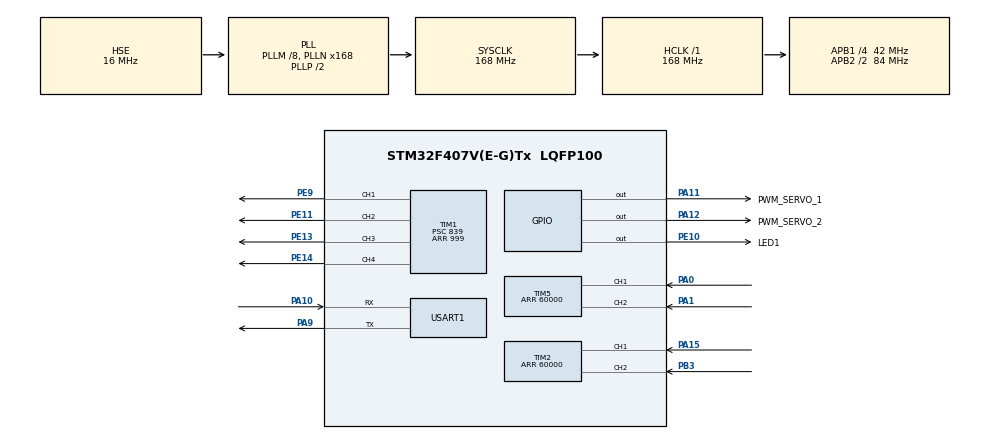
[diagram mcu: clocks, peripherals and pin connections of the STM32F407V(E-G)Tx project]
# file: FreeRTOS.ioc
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FREERTOS.Tasks01=defaultTask,24,512,StartDefaultTask,Default,NULL,Dynamic,NULL,NULL;LED_Task,8,128,LED_Task_entry,As weak,NULL,Static,LED_TaskBuffer,LED_TaskControlBlock
Mcu.Family=STM32F4
Mcu.Name=STM32F407V(E-G)Tx
Mcu.Package=LQFP100
NVIC.PriorityGroup=NVIC_PRIORITYGROUP_4
NVIC.TIM2_IRQn=true\:6\:0\:true\:false\:true\:true\:true\:true\:true
NVIC.TIM5_IRQn=true\:6\:0\:true\:false\:true\:true\:true\:true\:true
NVIC.TIM7_IRQn=true\:6\:0\:true\:false\:true\:true\:true\:true\:true
NVIC.TIM8_TRG_COM_TIM14_IRQn=true\:15\:0\:false\:false\:true\:false\:false\:true\:true
NVIC.TIM8_UP_TIM13_IRQn=true\:6\:0\:true\:false\:true\:true\:true\:true\:true
NVIC.TimeBase=TIM8_TRG_COM_TIM14_IRQn
NVIC.TimeBaseIP=TIM14
NVIC.USART1_IRQn=true\:6\:0\:true\:false\:true\:true\:true\:true\:true
PA0-WKUP.GPIO_PuPd=GPIO_PULLUP
PA0-WKUP.GPIO_Speed=GPIO_SPEED_FREQ_VERY_HIGH
PA0-WKUP.Signal=S_TIM5_CH1
PA1.GPIO_PuPd=GPIO_PULLUP
PA1.GPIO_Speed=GPIO_SPEED_FREQ_VERY_HIGH
PA1.Signal=S_TIM5_CH2
PA10.Mode=Asynchronous
PA10.Signal=USART1_RX
PA11.GPIO_Label=PWM_SERVO_1
PA11.GPIO_Speed=GPIO_SPEED_FREQ_HIGH
PA11.Signal=GPIO_Output
PA12.GPIO_Label=PWM_SERVO_2
PA12.GPIO_Speed=GPIO_SPEED_FREQ_HIGH
PA12.Signal=GPIO_Output
PA13.Mode=Serial_Wire
PA13.Signal=SYS_JTMS-SWDIO
PA14.Mode=Serial_Wire
PA14.Signal=SYS_JTCK-SWCLK
PA15.GPIO_PuPd=GPIO_PULLUP
PA15.GPIO_Speed=GPIO_SPEED_FREQ_VERY_HIGH
PA15.Signal=S_TIM2_CH1_ETR
PA9.Mode=Asynchronous
PA9.Signal=USART1_TX
PB3.GPIO_PuPd=GPIO_PULLUP
PB3.GPIO_Speed=GPIO_SPEED_FREQ_VERY_HIGH
PB3.Signal=S_TIM2_CH2
PE10.GPIO_Label=LED1
PE10.GPIO_PuPd=GPIO_PULLUP
PE10.PinState=GPIO_PIN_SET
PE10.Signal=GPIO_Output
PE11.GPIO_Speed=GPIO_SPEED_FREQ_HIGH
PE11.Signal=S_TIM1_CH2
PE13.GPIO_Speed=GPIO_SPEED_FREQ_HIGH
PE13.Signal=S_TIM1_CH3
PE14.GPIO_Speed=GPIO_SPEED_FREQ_HIGH
PE14.Signal=S_TIM1_CH4
PE9.GPIO_Speed=GPIO_SPEED_FREQ_HIGH
PE9.Signal=S_TIM1_CH1
PH0-OSC_IN.Mode=HSE-External-Oscillator
PH0-OSC_IN.Signal=RCC_OSC_IN
PH1-OSC_OUT.Mode=HSE-External-Oscillator
PH1-OSC_OUT.Signal=RCC_OSC_OUT
ProjectManager.HeapSize=0x200
ProjectManager.StackSize=0x400
ProjectManager.TargetToolchain=MDK-ARM V5
RCC.48MHZClocksFreq_Value=84000000
RCC.AHBFreq_Value=168000000
RCC.APB1CLKDivider=RCC_HCLK_DIV4
RCC.APB1Freq_Value=42000000
RCC.APB1TimFreq_Value=84000000
RCC.APB2CLKDivider=RCC_HCLK_DIV2
RCC.APB2Freq_Value=84000000
RCC.APB2TimFreq_Value=168000000
RCC.CortexFreq_Value=168000000
RCC.EXTERNAL_CLOCK_VALUE=12288000
RCC.EnbaleCSS=true
RCC.HCLKFreq_Value=168000000
RCC.HSE_VALUE=16000000
RCC.HSI_VALUE=16000000
RCC.LSE_VALUE=32768
RCC.PLLM=8
RCC.PLLN=168
RCC.PLLSourceVirtual=RCC_PLLSOURCE_HSE
RCC.SYSCLKFreq_VALUE=168000000
RCC.SYSCLKSource=RCC_SYSCLKSOURCE_PLLCLK
RCC.VCOOutputFreq_Value=336000000
SH.S_TIM1_CH1.0=TIM1_CH1,PWM Generation1 CH1
SH.S_TIM1_CH2.0=TIM1_CH2,PWM Generation2 CH2
SH.S_TIM1_CH3.0=TIM1_CH3,PWM Generation3 CH3
SH.S_TIM1_CH4.0=TIM1_CH4,PWM Generation4 CH4
SH.S_TIM2_CH1_ETR.0=TIM2_CH1,Encoder_Interface
SH.S_TIM2_CH2.0=TIM2_CH2,Encoder_Interface
SH.S_TIM5_CH1.0=TIM5_CH1,Encoder_Interface
SH.S_TIM5_CH2.0=TIM5_CH2,Encoder_Interface
TIM1.AutoReloadPreload=TIM_AUTORELOAD_PRELOAD_ENABLE
TIM1.Channel-PWM\ Generation1\ CH1=TIM_CHANNEL_1
TIM1.Channel-PWM\ Generation2\ CH2=TIM_CHANNEL_2
TIM1.Channel-PWM\ Generation3\ CH3=TIM_CHANNEL_3
TIM1.Channel-PWM\ Generation4\ CH4=TIM_CHANNEL_4
TIM1.OCFastMode_PWM-PWM\ Generation1\ CH1=TIM_OCFAST_ENABLE
TIM1.OCFastMode_PWM-PWM\ Generation2\ CH2=TIM_OCFAST_ENABLE
TIM1.OCFastMode_PWM-PWM\ Generation3\ CH3=TIM_OCFAST_ENABLE
TIM1.OCFastMode_PWM-PWM\ Generation4\ CH4=TIM_OCFAST_ENABLE
TIM1.Period=999
TIM1.Prescaler=839
TIM13.AutoReloadPreload=TIM_AUTORELOAD_PRELOAD_DISABLE
TIM13.Period=839
TIM13.Prescaler=0
TIM2.AutoReloadPreload=TIM_AUTORELOAD_PRELOAD_ENABLE
TIM2.EncoderMode=TIM_ENCODERMODE_TI12
TIM2.Period=60000
TIM5.AutoReloadPreload=TIM_AUTORELOAD_PRELOAD_ENABLE
TIM5.EncoderMode=TIM_ENCODERMODE_TI12
TIM5.Period=60000
TIM7.AutoReloadPreload=TIM_AUTORELOAD_PRELOAD_ENABLE
TIM7.Period=9999
TIM7.Prescaler=83
USART1.VirtualMode=VM_ASYNC
VP_FREERTOS_VS_CMSIS_V2.Mode=CMSIS_V2
VP_SYS_VS_tim14.Mode=TIM14
VP_TIM13_VS_ClockSourceINT.Mode=Enable_Timer
VP_TIM1_VS_ClockSourceINT.Mode=Internal
VP_TIM7_VS_ClockSourceINT.Mode=Enable_Timer
board=custom

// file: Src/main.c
/* USER CODE BEGIN Header */
/**
  ******************************************************************************
  * @file           : main.c
  * @brief          : Main program body
  ******************************************************************************
  * @attention
  *
  * Copyright (c) 2023 STMicroelectronics.
  * All rights reserved.
  *
  * This software is licensed under terms that can be found in the LICENSE file
  * in the root directory of this software component.
  * If no LICENSE file comes with this software, it is provided AS-IS.
  *
  ******************************************************************************
  */
/* USER CODE END Header */
#include "main.h"
#include "cmsis_os.h"

/* USER CODE BEGIN Includes */
#include <stdio.h>
#include <string.h>
#include <stdlib.h>
#include <stdarg.h>
/* USER CODE END Includes */

typedef StaticTask_t osStaticThreadDef_t;

TIM_HandleTypeDef htim1;
TIM_HandleTypeDef htim2;
TIM_HandleTypeDef htim5;
TIM_HandleTypeDef htim7;
TIM_HandleTypeDef htim13;

UART_HandleTypeDef huart1;

/* Definitions for defaultTask */
osThreadId_t defaultTaskHandle;
const osThreadAttr_t defaultTask_attributes = {
  .name = "defaultTask",
  .stack_size = 512 * 4,
  .priority = (osPriority_t) osPriorityNormal,
};
/* Definitions for LED_Task */
osThreadId_t LED_TaskHandle;
uint32_t LED_TaskBuffer[ 128 ];
osStaticThreadDef_t LED_TaskControlBlock;
const osThreadAttr_t LED_Task_attributes = {
  .name = "LED_Task",
  .cb_mem = &LED_TaskControlBlock,
  .cb_size = sizeof(LED_TaskControlBlock),
  .stack_mem = &LED_TaskBuffer[0],
  .stack_size = sizeof(LED_TaskBuffer),
  .priority = (osPriority_t) osPriorityLow,
};

void SystemClock_Config(void);
static void MX_GPIO_Init(void);
static void MX_TIM1_Init(void);
static void MX_TIM2_Init(void);
static void MX_TIM5_Init(void);
static void MX_TIM7_Init(void);
static void MX_TIM13_Init(void);
static void MX_USART1_UART_Init(void);
void StartDefaultTask(void *argument);
void LED_Task_entry(void *argument);

/* USER CODE BEGIN 0 */

/* ===== 舵机软件PWM全局变量 ===== */
static volatile uint16_t servo_pulse[2] = {150, 150};  /* 舵机1/2 高电平脉宽(单位10μs), 默认90° */
static volatile uint16_t servo_tick = 0;               /* TIM13中断计数器 */

/* ===== 编码器速度变量 ===== */
static volatile int32_t encoder1_speed = 0;  /* 电机1速度(单位: 编码器脉冲/10ms) */
static volatile int32_t encoder2_speed = 0;  /* 电机2速度 */
static volatile int32_t encoder1_last = 0;   /* 上次计数值 */
static volatile int32_t encoder2_last = 0;

/* ===== 串口接收缓冲 ===== */
static uint8_t uart_rx_byte = 0;

/* ===== 轻量串口格式化输出（替代 printf，避免栈溢出） ===== */
static void uart_printf(const char *fmt, ...)
{
  char buf[80];
  va_list ap;
  va_start(ap, fmt);
  vsnprintf(buf, sizeof(buf), fmt, ap);
  va_end(ap);
  HAL_UART_Transmit(&huart1, (uint8_t *)buf, strlen(buf), HAL_MAX_DELAY);
}

/* ===== 舵机控制 ===== */
void Servo_SetAngle(uint8_t servo_id, float angle)
{
  if (servo_id > 1) return;
  if (angle < 0) angle = 0;
  if (angle > 180) angle = 180;
  /* 角度 → 脉宽: 0°=50, 180°=250, 线性映射 */
  servo_pulse[servo_id] = (uint16_t)(SERVO_PULSE_MIN + (angle / 180.0f) * (SERVO_PULSE_MAX - SERVO_PULSE_MIN));
}

/* ===== 电机控制 ===== */
void Motor_SetSpeed(uint8_t motor_id, int16_t speed)
{
  if (speed > MOTOR_PWM_MAX) speed = MOTOR_PWM_MAX;
  if (speed < -MOTOR_PWM_MAX) speed = -MOTOR_PWM_MAX;

  if (motor_id == 0)  /* 电机1: CH1正转, CH2反转 */
  {
    if (speed >= 0)
    {
      __HAL_TIM_SET_COMPARE(&htim1, TIM_CHANNEL_1, (uint32_t)speed);
      __HAL_TIM_SET_COMPARE(&htim1, TIM_CHANNEL_2, 0);
    }
    else
    {
      __HAL_TIM_SET_COMPARE(&htim1, TIM_CHANNEL_1, 0);
      __HAL_TIM_SET_COMPARE(&htim1, TIM_CHANNEL_2, (uint32_t)(-speed));
    }
  }
  else if (motor_id == 1)  /* 电机2: CH3正转, CH4反转 */
  {
    if (speed >= 0)
    {
      __HAL_TIM_SET_COMPARE(&htim1, TIM_CHANNEL_3, (uint32_t)speed);
      __HAL_TIM_SET_COMPARE(&htim1, TIM_CHANNEL_4, 0);
    }
    else
    {
      __HAL_TIM_SET_COMPARE(&htim1, TIM_CHANNEL_3, 0);
      __HAL_TIM_SET_COMPARE(&htim1, TIM_CHANNEL_4, (uint32_t)(-speed));
    }
  }
}

/* ===== 编码器读取 ===== */
int32_t Encoder_GetCount(uint8_t encoder_id)
{
  if (encoder_id == 0)
    return (int32_t)__HAL_TIM_GET_COUNTER(&htim5);
  else if (encoder_id == 1)
    return (int32_t)__HAL_TIM_GET_COUNTER(&htim2);
  return 0;
}

/* ===== TIM13 软件PWM中断回调 (10μs周期, Update溢出中断) ===== */
void HAL_TIM_PeriodElapsedCallback_TIM13(TIM_HandleTypeDef *htim)
{
  if (htim->Instance != TIM13) return;

  servo_tick++;

  if (servo_tick == 1)
  {
    /* 周期开始: 拉高两个舵机 */
    HAL_GPIO_WritePin(PWM_SERVO_1_GPIO_Port, PWM_SERVO_1_Pin, GPIO_PIN_SET);
    HAL_GPIO_WritePin(PWM_SERVO_2_GPIO_Port, PWM_SERVO_2_Pin, GPIO_PIN_SET);
  }

  if (servo_tick == servo_pulse[0])
  {
    /* 舵机1脉宽到达, 拉低 */
    HAL_GPIO_WritePin(PWM_SERVO_1_GPIO_Port, PWM_SERVO_1_Pin, GPIO_PIN_RESET);
  }

  if (servo_tick == servo_pulse[1])
  {
    /* 舵机2脉宽到达, 拉低 */
    HAL_GPIO_WritePin(PWM_SERVO_2_GPIO_Port, PWM_SERVO_2_Pin, GPIO_PIN_RESET);
  }

  if (servo_tick >= SERVO_PERIOD)
  {
    /* 20ms周期结束, 重启 */
    servo_tick = 0;
  }
}

/* ===== TIM7 10ms测速中断回调 ===== */
void HAL_TIM_PeriodElapsedCallback_TIM7(TIM_HandleTypeDef *htim)
{
  if (htim->Instance != TIM7) return;

  int32_t cur1 = (int32_t)__HAL_TIM_GET_COUNTER(&htim5);
  int32_t cur2 = (int32_t)__HAL_TIM_GET_COUNTER(&htim2);

  encoder1_speed = cur1 - encoder1_last;
  encoder2_speed = cur2 - encoder2_last;

  /* 处理溢出: Period=60000, 如果差值超过一半说明溢出 */
  if (encoder1_speed > 30000)  encoder1_speed -= 60001;
  if (encoder1_speed < -30000) encoder1_speed += 60001;
  if (encoder2_speed > 30000)  encoder2_speed -= 60001;
  if (encoder2_speed < -30000) encoder2_speed += 60001;

  encoder1_last = cur1;
  encoder2_last = cur2;
}

/* USER CODE END 0 */

int main(void)
{

  /* MCU Configuration--------------------------------------------------------*/

  /* Reset of all peripherals, Initializes the Flash interface and the Systick. */
  HAL_Init();

  /* Configure the system clock */
  SystemClock_Config();

  /* Initialize all configured peripherals */
  MX_GPIO_Init();
  MX_TIM1_Init();
  MX_TIM2_Init();
  MX_TIM5_Init();
  MX_TIM7_Init();
  MX_TIM13_Init();
  MX_USART1_UART_Init();
  /* USER CODE BEGIN 2 */

  /* === 启动串口中断接收 === */
  HAL_UART_Receive_IT(&huart1, &uart_rx_byte, 1);

  /* === 启动电机 PWM === */
  HAL_TIM_PWM_Start(&htim1, TIM_CHANNEL_1);
  HAL_TIM_PWM_Start(&htim1, TIM_CHANNEL_2);
  HAL_TIM_PWM_Start(&htim1, TIM_CHANNEL_3);
  HAL_TIM_PWM_Start(&htim1, TIM_CHANNEL_4);

  /* === 启动编码器 === */
  HAL_TIM_Encoder_Start(&htim2, TIM_CHANNEL_1 | TIM_CHANNEL_2);
  HAL_TIM_Encoder_Start(&htim5, TIM_CHANNEL_1 | TIM_CHANNEL_2);
  __HAL_TIM_SET_COUNTER(&htim2, 30000);
  __HAL_TIM_SET_COUNTER(&htim5, 30000);
  encoder1_last = 30000;
  encoder2_last = 30000;

  /* === 启动测速中断 (10ms) === */
  HAL_TIM_Base_Start_IT(&htim7);

  /* === 启动舵机软件PWM中断 (10μs) === */
  /* 必须在启动前重新配置 TIM13 寄存器，因为 MX_TIM13_Init 里的
   * __HAL_TIM_SET_PRESCALER / __HAL_TIM_SET_AUTORELOAD 可能被
   * HAL_TIM_Base_Start_IT 内部的 __HAL_TIM_ENABLE 覆盖回 .ioc 的值 */
  __HAL_TIM_DISABLE(&htim13);
  htim13.Instance->PSC = 0;    /* PSC=0, 84MHz 不分频 */
  htim13.Instance->ARR = 839;  /* ARR=839, 84MHz/840 = 100kHz = 10μs */
  htim13.Instance->CNT = 0;    /* 清零计数器 */
  __HAL_TIM_CLEAR_FLAG(&htim13, TIM_FLAG_UPDATE);  /* 清除挂起的更新标志 */
  HAL_TIM_Base_Start_IT(&htim13);

  /* === 舵机/电机初始化 === */
  Servo_SetAngle(0, 90.0f);
  Servo_SetAngle(1, 90.0f);
  Motor_SetSpeed(0, 0);
  Motor_SetSpeed(1, 0);

  /* USER CODE END 2 */

  /* Init scheduler */
  osKernelInitialize();

  /* Create the thread(s) */
  /* creation of defaultTask */
  defaultTaskHandle = osThreadNew(StartDefaultTask, NULL, &defaultTask_attributes);

  /* creation of LED_Task */
  LED_TaskHandle = osThreadNew(LED_Task_entry, NULL, &LED_Task_attributes);

  /* Start scheduler */
  osKernelStart();

  /* We should never get here as control is now taken by the scheduler */

  /* Infinite loop */
  while (1)
  {

  }
}

void SystemClock_Config(void)
{
  RCC_OscInitTypeDef RCC_OscInitStruct = {0};
  RCC_ClkInitTypeDef RCC_ClkInitStruct = {0};

  /** Configure the main internal regulator output voltage
  */
  __HAL_RCC_PWR_CLK_ENABLE();
  __HAL_PWR_VOLTAGESCALING_CONFIG(PWR_REGULATOR_VOLTAGE_SCALE1);

  /** Initializes the RCC Oscillators according to the specified parameters
  * in the RCC_OscInitTypeDef structure.
  */
  RCC_OscInitStruct.OscillatorType = RCC_OSCILLATORTYPE_HSE;
  RCC_OscInitStruct.HSEState = RCC_HSE_ON;
  RCC_OscInitStruct.PLL.PLLState = RCC_PLL_ON;
  RCC_OscInitStruct.PLL.PLLSource = RCC_PLLSOURCE_HSE;
  RCC_OscInitStruct.PLL.PLLM = 8;
  RCC_OscInitStruct.PLL.PLLN = 168;
  RCC_OscInitStruct.PLL.PLLP = RCC_PLLP_DIV2;
  RCC_OscInitStruct.PLL.PLLQ = 4;
  if (HAL_RCC_OscConfig(&RCC_OscInitStruct) != HAL_OK)
  {
    Error_Handler();
  }

  /** Initializes the CPU, AHB and APB buses clocks
  */
  RCC_ClkInitStruct.ClockType = RCC_CLOCKTYPE_HCLK|RCC_CLOCKTYPE_SYSCLK
                              |RCC_CLOCKTYPE_PCLK1|RCC_CLOCKTYPE_PCLK2;
  RCC_ClkInitStruct.SYSCLKSource = RCC_SYSCLKSOURCE_PLLCLK;
  RCC_ClkInitStruct.AHBCLKDivider = RCC_SYSCLK_DIV1;
  RCC_ClkInitStruct.APB1CLKDivider = RCC_HCLK_DIV4;
  RCC_ClkInitStruct.APB2CLKDivider = RCC_HCLK_DIV2;

  if (HAL_RCC_ClockConfig(&RCC_ClkInitStruct, FLASH_LATENCY_5) != HAL_OK)
  {
    Error_Handler();
  }

  /** Enables the Clock Security System
  */
  HAL_RCC_EnableCSS();
}

static void MX_TIM1_Init(void)
{

  TIM_ClockConfigTypeDef sClockSourceConfig = {0};
  TIM_MasterConfigTypeDef sMasterConfig = {0};
  TIM_OC_InitTypeDef sConfigOC = {0};
  TIM_BreakDeadTimeConfigTypeDef sBreakDeadTimeConfig = {0};

  htim1.Instance = TIM1;
  htim1.Init.Prescaler = 839;
  htim1.Init.CounterMode = TIM_COUNTERMODE_UP;
  htim1.Init.Period = 999;
  htim1.Init.ClockDivision = TIM_CLOCKDIVISION_DIV1;
  htim1.Init.RepetitionCounter = 0;
  htim1.Init.AutoReloadPreload = TIM_AUTORELOAD_PRELOAD_ENABLE;
  if (HAL_TIM_Base_Init(&htim1) != HAL_OK)
  {
    Error_Handler();
  }
  sClockSourceConfig.ClockSource = TIM_CLOCKSOURCE_INTERNAL;
  if (HAL_TIM_ConfigClockSource(&htim1, &sClockSourceConfig) != HAL_OK)
  {
    Error_Handler();
  }
  if (HAL_TIM_PWM_Init(&htim1) != HAL_OK)
  {
    Error_Handler();
  }
  sMasterConfig.MasterOutputTrigger = TIM_TRGO_RESET;
  sMasterConfig.MasterSlaveMode = TIM_MASTERSLAVEMODE_DISABLE;
  if (HAL_TIMEx_MasterConfigSynchronization(&htim1, &sMasterConfig) != HAL_OK)
  {
    Error_Handler();
  }
  sConfigOC.OCMode = TIM_OCMODE_PWM1;
  sConfigOC.Pulse = 0;
  sConfigOC.OCPolarity = TIM_OCPOLARITY_HIGH;
  sConfigOC.OCNPolarity = TIM_OCNPOLARITY_HIGH;
  sConfigOC.OCFastMode = TIM_OCFAST_ENABLE;
  sConfigOC.OCIdleState = TIM_OCIDLESTATE_RESET;
  sConfigOC.OCNIdleState = TIM_OCNIDLESTATE_RESET;
  if (HAL_TIM_PWM_ConfigChannel(&htim1, &sConfigOC, TIM_CHANNEL_1) != HAL_OK)
  {
    Error_Handler();
  }
  if (HAL_TIM_PWM_ConfigChannel(&htim1, &sConfigOC, TIM_CHANNEL_2) != HAL_OK)
  {
    Error_Handler();
  }
  if (HAL_TIM_PWM_ConfigChannel(&htim1, &sConfigOC, TIM_CHANNEL_3) != HAL_OK)
  {
    Error_Handler();
  }
  if (HAL_TIM_PWM_ConfigChannel(&htim1, &sConfigOC, TIM_CHANNEL_4) != HAL_OK)
  {
    Error_Handler();
  }
  sBreakDeadTimeConfig.OffStateRunMode = TIM_OSSR_DISABLE;
  sBreakDeadTimeConfig.OffStateIDLEMode = TIM_OSSI_DISABLE;
  sBreakDeadTimeConfig.LockLevel = TIM_LOCKLEVEL_OFF;
  sBreakDeadTimeConfig.DeadTime = 0;
  sBreakDeadTimeConfig.BreakState = TIM_BREAK_DISABLE;
  sBreakDeadTimeConfig.BreakPolarity = TIM_BREAKPOLARITY_HIGH;
  sBreakDeadTimeConfig.AutomaticOutput = TIM_AUTOMATICOUTPUT_DISABLE;
  if (HAL_TIMEx_ConfigBreakDeadTime(&htim1, &sBreakDeadTimeConfig) != HAL_OK)
  {
    Error_Handler();
  }
  HAL_TIM_MspPostInit(&htim1);

}

static void MX_TIM2_Init(void)
{

  TIM_Encoder_InitTypeDef sConfig = {0};
  TIM_MasterConfigTypeDef sMasterConfig = {0};

  htim2.Instance = TIM2;
  htim2.Init.Prescaler = 0;
  htim2.Init.CounterMode = TIM_COUNTERMODE_UP;
  htim2.Init.Period = 60000;
  htim2.Init.ClockDivision = TIM_CLOCKDIVISION_DIV1;
  htim2.Init.AutoReloadPreload = TIM_AUTORELOAD_PRELOAD_ENABLE;
  sConfig.EncoderMode = TIM_ENCODERMODE_TI12;
  sConfig.IC1Polarity = TIM_ICPOLARITY_RISING;
  sConfig.IC1Selection = TIM_ICSELECTION_DIRECTTI;
  sConfig.IC1Prescaler = TIM_ICPSC_DIV1;
  sConfig.IC1Filter = 0;
  sConfig.IC2Polarity = TIM_ICPOLARITY_RISING;
  sConfig.IC2Selection = TIM_ICSELECTION_DIRECTTI;
  sConfig.IC2Prescaler = TIM_ICPSC_DIV1;
  sConfig.IC2Filter = 0;
  if (HAL_TIM_Encoder_Init(&htim2, &sConfig) != HAL_OK)
  {
    Error_Handler();
  }
  sMasterConfig.MasterOutputTrigger = TIM_TRGO_RESET;
  sMasterConfig.MasterSlaveMode = TIM_MASTERSLAVEMODE_DISABLE;
  if (HAL_TIMEx_MasterConfigSynchronization(&htim2, &sMasterConfig) != HAL_OK)
  {
    Error_Handler();
  }

}

static void MX_TIM5_Init(void)
{

  TIM_Encoder_InitTypeDef sConfig = {0};
  TIM_MasterConfigTypeDef sMasterConfig = {0};

  htim5.Instance = TIM5;
  htim5.Init.Prescaler = 0;
  htim5.Init.CounterMode = TIM_COUNTERMODE_UP;
  htim5.Init.Period = 60000;
  htim5.Init.ClockDivision = TIM_CLOCKDIVISION_DIV1;
  htim5.Init.AutoReloadPreload = TIM_AUTORELOAD_PRELOAD_ENABLE;
  sConfig.EncoderMode = TIM_ENCODERMODE_TI12;
  sConfig.IC1Polarity = TIM_ICPOLARITY_RISING;
  sConfig.IC1Selection = TIM_ICSELECTION_DIRECTTI;
  sConfig.IC1Prescaler = TIM_ICPSC_DIV1;
  sConfig.IC1Filter = 0;
  sConfig.IC2Polarity = TIM_ICPOLARITY_RISING;
  sConfig.IC2Selection = TIM_ICSELECTION_DIRECTTI;
  sConfig.IC2Prescaler = TIM_ICPSC_DIV1;
  sConfig.IC2Filter = 0;
  if (HAL_TIM_Encoder_Init(&htim5, &sConfig) != HAL_OK)
  {
    Error_Handler();
  }
  sMasterConfig.MasterOutputTrigger = TIM_TRGO_RESET;
  sMasterConfig.MasterSlaveMode = TIM_MASTERSLAVEMODE_DISABLE;
  if (HAL_TIMEx_MasterConfigSynchronization(&htim5, &sMasterConfig) != HAL_OK)
  {
    Error_Handler();
  }

}

static void MX_TIM7_Init(void)
{

  TIM_MasterConfigTypeDef sMasterConfig = {0};

  htim7.Instance = TIM7;
  htim7.Init.Prescaler = 83;
  htim7.Init.CounterMode = TIM_COUNTERMODE_UP;
  htim7.Init.Period = 9999;
  htim7.Init.AutoReloadPreload = TIM_AUTORELOAD_PRELOAD_ENABLE;
  if (HAL_TIM_Base_Init(&htim7) != HAL_OK)
  {
    Error_Handler();
  }
  sMasterConfig.MasterOutputTrigger = TIM_TRGO_RESET;
  sMasterConfig.MasterSlaveMode = TIM_MASTERSLAVEMODE_DISABLE;
  if (HAL_TIMEx_MasterConfigSynchronization(&htim7, &sMasterConfig) != HAL_OK)
  {
    Error_Handler();
  }

}

static void MX_TIM13_Init(void)
{

  htim13.Instance = TIM13;
  htim13.Init.Prescaler = 0;
  htim13.Init.CounterMode = TIM_COUNTERMODE_UP;
  htim13.Init.Period = 839;
  htim13.Init.ClockDivision = TIM_CLOCKDIVISION_DIV1;
  htim13.Init.AutoReloadPreload = TIM_AUTORELOAD_PRELOAD_DISABLE;
  if (HAL_TIM_Base_Init(&htim13) != HAL_OK)
  {
    Error_Handler();
  }

}

static void MX_USART1_UART_Init(void)
{

  huart1.Instance = USART1;
  huart1.Init.BaudRate = 115200;
  huart1.Init.WordLength = UART_WORDLENGTH_8B;
  huart1.Init.StopBits = UART_STOPBITS_1;
  huart1.Init.Parity = UART_PARITY_NONE;
  huart1.Init.Mode = UART_MODE_TX_RX;
  huart1.Init.HwFlowCtl = UART_HWCONTROL_NONE;
  huart1.Init.OverSampling = UART_OVERSAMPLING_16;
  if (HAL_UART_Init(&huart1) != HAL_OK)
  {
    Error_Handler();
  }

}

static void MX_GPIO_Init(void)
{
  GPIO_InitTypeDef GPIO_InitStruct = {0};

  /* GPIO Ports Clock Enable */
  __HAL_RCC_GPIOH_CLK_ENABLE();
  __HAL_RCC_GPIOA_CLK_ENABLE();
  __HAL_RCC_GPIOE_CLK_ENABLE();
  __HAL_RCC_GPIOB_CLK_ENABLE();

  /*Configure GPIO pin Output Level */
  HAL_GPIO_WritePin(LED1_GPIO_Port, LED1_Pin, GPIO_PIN_SET);

  /*Configure GPIO pin Output Level */
  HAL_GPIO_WritePin(GPIOA, PWM_SERVO_1_Pin|PWM_SERVO_2_Pin, GPIO_PIN_RESET);

  /*Configure GPIO pin : LED1_Pin */
  GPIO_InitStruct.Pin = LED1_Pin;
  GPIO_InitStruct.Mode = GPIO_MODE_OUTPUT_PP;
  GPIO_InitStruct.Pull = GPIO_PULLUP;
  GPIO_InitStruct.Speed = GPIO_SPEED_FREQ_LOW;
  HAL_GPIO_Init(LED1_GPIO_Port, &GPIO_InitStruct);

  /*Configure GPIO pins : PWM_SERVO_1_Pin PWM_SERVO_2_Pin */
  GPIO_InitStruct.Pin = PWM_SERVO_1_Pin|PWM_SERVO_2_Pin;
  GPIO_InitStruct.Mode = GPIO_MODE_OUTPUT_PP;
  GPIO_InitStruct.Pull = GPIO_NOPULL;
  GPIO_InitStruct.Speed = GPIO_SPEED_FREQ_HIGH;
  HAL_GPIO_Init(GPIOA, &GPIO_InitStruct);

}

/* USER CODE BEGIN 4 */

/* ===== 串口接收完成回调 ===== */
void HAL_UART_RxCpltCallback(UART_HandleTypeDef *huart)
{
  if (huart->Instance != USART1) return;

  static char cmd_buf[32];
  static uint8_t cmd_idx = 0;

  /* 忽略换行符，只用作指令结束标记 */
  if (uart_rx_byte == '\r' || uart_rx_byte == '\n')
  {
    if (cmd_idx > 0)
    {
      cmd_buf[cmd_idx] = '\0';

      /* 解析指令: S1=angle / S2=angle / M1=speed / M2=speed
       * 同时支持冒号分隔: S1:90 等价于 S1=90 */
      char *sep = strchr(cmd_buf, '=');
      if (!sep) sep = strchr(cmd_buf, ':');

      if (sep)
      {
        *sep = '\0';  /* 分割: cmd_buf=指令名, sep+1=参数 */
        if (strcmp(cmd_buf, "S1") == 0)
        {
          float angle = atof(sep + 1);
          Servo_SetAngle(0, angle);
          uart_printf("Servo1 -> %.1f deg\r\n", angle);
        }
        else if (strcmp(cmd_buf, "S2") == 0)
        {
          float angle = atof(sep + 1);
          Servo_SetAngle(1, angle);
          uart_printf("Servo2 -> %.1f deg\r\n", angle);
        }
        else if (strcmp(cmd_buf, "M1") == 0)
        {
          int16_t speed = (int16_t)atoi(sep + 1);
          Motor_SetSpeed(0, speed);
          uart_printf("Motor1 -> %d\r\n", speed);
        }
        else if (strcmp(cmd_buf, "M2") == 0)
        {
          int16_t speed = (int16_t)atoi(sep + 1);
          Motor_SetSpeed(1, speed);
          uart_printf("Motor2 -> %d\r\n", speed);
        }
        else
        {
          uart_printf("Unknown cmd: %s\r\n", cmd_buf);
        }
      }
      else
      {
        uart_printf("Bad fmt: %s (use S1=90)\r\n", cmd_buf);
      }
      cmd_idx = 0;
    }
  }
  else
  {
    if (cmd_idx < sizeof(cmd_buf) - 1)
      cmd_buf[cmd_idx++] = uart_rx_byte;
    else
      cmd_idx = 0;  /* 溢出重置 */
  }

  /* 重新开启接收 */
  HAL_UART_Receive_IT(&huart1, &uart_rx_byte, 1);
}

/* USER CODE END 4 */

void StartDefaultTask(void *argument)
{
  /* USER CODE BEGIN 5 */
  uart_printf("Family Bot Ready!\r\n");

  /* Infinite loop */
  for(;;)
  {
    uart_printf("E1=%ld E2=%ld\r\n", (long)encoder1_speed, (long)encoder2_speed);
    osDelay(2000);
  }
  /* USER CODE END 5 */
}

__weak void LED_Task_entry(void *argument)
{
  /* USER CODE BEGIN LED_Task_entry */
  /* Infinite loop */
  for(;;)
  {
	  HAL_GPIO_WritePin(LED1_GPIO_Port, LED1_Pin, GPIO_PIN_SET);
	  osDelay(1000);
	  HAL_GPIO_WritePin(LED1_GPIO_Port, LED1_Pin, GPIO_PIN_RESET);
	  osDelay(500);
  }
  /* USER CODE END LED_Task_entry */
}

void HAL_TIM_PeriodElapsedCallback(TIM_HandleTypeDef *htim)
{
  if (htim->Instance == TIM14) {
    HAL_IncTick();
  }
  /* USER CODE BEGIN Callback 1 */
  if (htim->Instance == TIM7) {
    HAL_TIM_PeriodElapsedCallback_TIM7(htim);
  }
  else if (htim->Instance == TIM13) {
    HAL_TIM_PeriodElapsedCallback_TIM13(htim);
  }
  /* USER CODE END Callback 1 */
}

void Error_Handler(void)
{
  __disable_irq();
  while (1)
  {
  }
}
